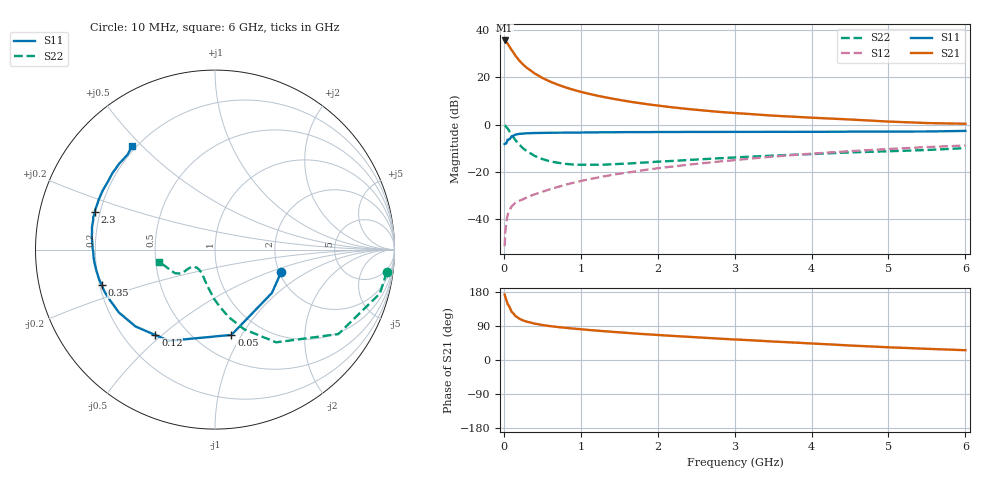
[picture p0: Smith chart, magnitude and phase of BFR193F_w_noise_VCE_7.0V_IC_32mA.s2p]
! (c) 2017  Infineon Technologies AG, Munich
! Infineon Technologies  Discrete & RF Semiconductors
! BFR193F
! VCE =  7.0 V,  IC =  32 mA
! Common Emitter S-Parameters:  Jan 2017
# GHz  S  MA  R  50
!  f  S11  S21  S12  S22
! GHz  MAG  ANG  MAG  ANG  MAG  ANG  MAG  ANG
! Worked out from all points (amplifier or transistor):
!   77 points, 10 MHz to 6 GHz, reference 50 ohm
!   highest |S21| = 35.6 dB at 10 MHz (marker M1)
!   |S21| within 3 dB of that: start of sweep to 80.85 MHz
!   unconditionally stable (mu >= 1): 1.086 GHz to 2.637 GHz
!   at 130 MHz: K = 0.38, MSG = 32.0 dB, |S12| = -33.7 dB
!   at 2.2 GHz: K = 1.02, MAG = 11.7 dB, |S12| = -17.7 dB
!   at 6 GHz: K = 0.85, MSG = 4.6 dB, |S12| = -8.8 dB
!   lowest NFmin = 1.21 dB at 450 MHz
!   S11 on the Smith chart (normalised r, x): 10 MHz: 2.06, -0.60; 50 MHz: 0.73, -0.90; 120 MHz: 0.33, -0.48; 350 MHz: 0.21, -0.15; 2.3 GHz: 0.18, +0.15; 6 GHz: 0.18, +0.47
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0.01  0.3897 -18.4  60.46 172.8  0.0027 83.1  0.9651 -7.5
0.02  0.3986 -37.3  58.77 165.5  0.0056 74.6  0.9507 -14.9
0.05  0.484 -79.1  51.75 147.6  0.0126 65.2  0.8332 -34.4
0.1  0.5698 -116.9  38.31 127.5  0.0186 53.2  0.6188 -56.6
0.12  0.5804 -124.9  34.4 123.8  0.02 51.5  0.5571 -61.1
0.15  0.6161 -136.0  28.91 116.3  0.0222 49.4  0.4729 -69.9
0.2  0.6399 -146.8  22.85 109.2  0.0245 48.8  0.3819 -78.7
0.25  0.6494 -154.2  18.72 104.4  0.0266 50.5  0.3163 -85.6
0.3  0.6586 -159.1  15.87 101.0  0.0289 51.9  0.2756 -90.9
0.35  0.6616 -162.5  13.97 98.8  0.0313 53.6  0.2467 -94.6
0.4  0.6669 -165.9  12.09 95.9  0.0337 55.1  0.2192 -99.3
0.5  0.6715 -170.3  9.757 92.4  0.0381 58.5  0.1877 -106.2
0.6  0.6752 -173.6  8.182 89.5  0.0431 61.5  0.1678 -112.0
0.8  0.6783 -178.7  6.165 85.0  0.0537 65.1  0.1484 -121.9
1.1  0.6863 176.0  4.522 79.3  0.0698 68.8  0.1426 -131.2
1.5  0.6945 170.7  3.35 73.0  0.0919 70.6  0.1482 -139.1
2.1  0.7012 164.4  2.429 64.8  0.1253 71.8  0.1684 -143.8
2.3  0.7021 162.6  2.231 62.4  0.1367 71.8  0.1755 -144.3
3.1  0.7053 155.7  1.723 53.2  0.1846 71.0  0.2068 -144.3
4.1  0.7075 146.9  1.383 42.6  0.2503 67.5  0.2432 -146.9
5.1  0.7169 137.0  1.148 32.7  0.3123 62.4  0.278 -157.2
6  0.7399 128.5  1.047 25.8  0.363 57.2  0.3197 -167.7
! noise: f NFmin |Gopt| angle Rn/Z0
0.45  1.21  0.4  177  0.06
0.9  1.3  0.43  177  0.07
1.9  1.86  0.58  -167  0.07
2.4  2.15  0.61  -158  0.12
